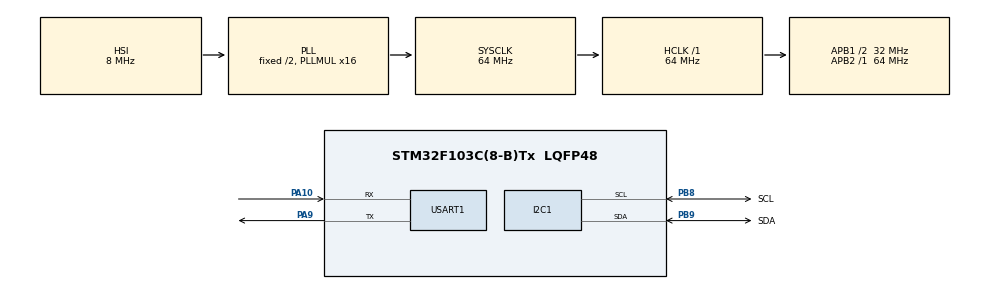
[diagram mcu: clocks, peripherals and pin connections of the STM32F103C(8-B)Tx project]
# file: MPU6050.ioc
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Mcu.Family=STM32F1
Mcu.Name=STM32F103C(8-B)Tx
Mcu.Package=LQFP48
NVIC.PriorityGroup=NVIC_PRIORITYGROUP_4
PA10.Mode=Asynchronous
PA10.Signal=USART1_RX
PA9.Mode=Asynchronous
PA9.Signal=USART1_TX
PB8.GPIO_Label=SCL
PB8.Mode=I2C
PB8.Signal=I2C1_SCL
PB9.GPIO_Label=SDA
PB9.Mode=I2C
PB9.Signal=I2C1_SDA
ProjectManager.HeapSize=0x200
ProjectManager.StackSize=0x400
ProjectManager.TargetToolchain=MDK-ARM V5
RCC.AHBFreq_Value=64000000
RCC.APB1CLKDivider=RCC_HCLK_DIV2
RCC.APB1Freq_Value=32000000
RCC.APB1TimFreq_Value=64000000
RCC.APB2Freq_Value=64000000
RCC.APB2TimFreq_Value=64000000
RCC.HCLKFreq_Value=64000000
RCC.PLLMUL=RCC_PLL_MUL16
RCC.SYSCLKFreq_VALUE=64000000
RCC.SYSCLKSource=RCC_SYSCLKSOURCE_PLLCLK
RCC.USBFreq_Value=64000000
USART1.VirtualMode=VM_ASYNC
VP_SYS_VS_ND.Mode=No_Debug
board=custom

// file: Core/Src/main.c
/* USER CODE BEGIN Header */
/**
  ******************************************************************************
  * @file           : main.c
  * @brief          : Main program body
  ******************************************************************************
  * @attention
  *
  * Copyright (c) 2022 STMicroelectronics.
  * All rights reserved.
  *
  * This software is licensed under terms that can be found in the LICENSE file
  * in the root directory of this software component.
  * If no LICENSE file comes with this software, it is provided AS-IS.
  *
  ******************************************************************************
  */
/* USER CODE END Header */
#include "main.h"

/* USER CODE BEGIN Includes */
#include "stdio.h"
#include "complementary_filter.h"
#include "kalman_filter.h"
/* USER CODE END Includes */

I2C_HandleTypeDef hi2c1;

UART_HandleTypeDef huart1;

/* USER CODE BEGIN PV */
uint8_t mpuAddr = 0x68 << 1;
float dt = 0.01;
/* USER CODE END PV */

void SystemClock_Config(void);
static void MX_GPIO_Init(void);
static void MX_I2C1_Init(void);
static void MX_USART1_UART_Init(void);

/* USER CODE BEGIN 0 */
void calibration(float* cal) {
	uint8_t rawData[6];
	for(int i = 0; i < 3000; i++) {
		uint8_t accStart = 0x3B;
		HAL_I2C_Mem_Read(&hi2c1, mpuAddr, accStart, I2C_MEMADD_SIZE_8BIT, rawData, 6, HAL_MAX_DELAY);

		// ACC
		cal[0] += ((int16_t)(rawData[0] << 8 | rawData[1])) / 16384.0; // x
		cal[1] += ((int16_t)(rawData[2] << 8 | rawData[3])) / 16384.0; // y
		cal[2] += ((int16_t)(rawData[4] << 8 | rawData[5])) / 16384.0; // z

		uint8_t gyroStart = 0x43;
		HAL_I2C_Mem_Read(&hi2c1, mpuAddr, gyroStart, I2C_MEMADD_SIZE_8BIT, rawData, 6, HAL_MAX_DELAY);

		//GYRO
		cal[3] += ((int16_t)(rawData[0] << 8 | rawData[1])) / 131.0; // x
		cal[4] += ((int16_t)(rawData[2] << 8 | rawData[3])) / 131.0; // y
		cal[5] += ((int16_t)(rawData[4] << 8 | rawData[5])) / 131.0; // z

		HAL_Delay(3);
	}

	cal[0] /= 3000.0;
	cal[1] /= 3000.0;
	cal[2] /= 3000.0;
	cal[3] /= 3000.0;
	cal[4] /= 3000.0;
	cal[5] /= 3000.0;
}

void readRaw(float *data, float* cal) {
	uint8_t rawData[6];
	uint8_t accStart = 0x3B;
	HAL_I2C_Mem_Read(&hi2c1, mpuAddr, accStart, I2C_MEMADD_SIZE_8BIT, rawData, 6, HAL_MAX_DELAY);

	// ACC
	data[0] = ((int16_t)(rawData[0] << 8 | rawData[1])) / 16384.0 - cal[0]; // x
	data[1] = ((int16_t)(rawData[2] << 8 | rawData[3])) / 16384.0 - cal[1]; // y
	data[2] = ((int16_t)(rawData[4] << 8 | rawData[5])) / 16384.0 - cal[2] + 1; // z
	uint8_t gyroStart = 0x43;
	HAL_I2C_Mem_Read(&hi2c1, mpuAddr, gyroStart, I2C_MEMADD_SIZE_8BIT, rawData, 6, HAL_MAX_DELAY);

	//GYRO
	data[3] = ((int16_t)(rawData[0] << 8 | rawData[1])) / 131.0 - cal[3]; // x
	data[4] = ((int16_t)(rawData[2] << 8 | rawData[3])) / 131.0 - cal[4]; // y
	data[5] = ((int16_t)(rawData[4] << 8 | rawData[5])) / 131.0 - cal[5]; // z
}
/* USER CODE END 0 */

int main(void)
{

  /* MCU Configuration--------------------------------------------------------*/

  /* Reset of all peripherals, Initializes the Flash interface and the Systick. */
  HAL_Init();

  /* Configure the system clock */
  SystemClock_Config();

  /* Initialize all configured peripherals */
  MX_GPIO_Init();
  MX_I2C1_Init();
  MX_USART1_UART_Init();
  /* USER CODE BEGIN 2 */
	float calibrate[6];
	calibration(calibrate);
  /* USER CODE END 2 */

  /* Infinite loop */
  /* USER CODE BEGIN WHILE */
	float compFiltered[3];
	float kalFiltered[3];
  while (1)
  {
    /* USER CODE END WHILE */

    /* USER CODE BEGIN 3 */
		float raw[6];
		readRaw(raw, calibrate);
		complementary(raw, compFiltered, dt);
		kalman(raw, kalFiltered, dt);

		char result[70] = { '\0' };
		//sprintf(result, "%.2f %.2f %.2f %.2f %.2f %.2f", raw[0], raw[1], raw[2], raw[3], raw[4], raw[5]);
		sprintf(result, "%.2f %.2f %.2f %.2f %.2f %.2f %.2f %.2f %.2f", raw[0], raw[1], raw[2], raw[3], raw[4], compFiltered[0], compFiltered[1], kalFiltered[0], kalFiltered[1]);
		HAL_UART_Transmit(&huart1, (uint8_t*)result, sizeof(result), HAL_MAX_DELAY);

		uint8_t msg[] = "\r\n";
		HAL_UART_Transmit(&huart1, msg, sizeof(msg), HAL_MAX_DELAY);

		HAL_Delay(dt*1000); // 1/1khz
  }
  /* USER CODE END 3 */
}

void SystemClock_Config(void)
{
  RCC_OscInitTypeDef RCC_OscInitStruct = {0};
  RCC_ClkInitTypeDef RCC_ClkInitStruct = {0};

  /** Initializes the RCC Oscillators according to the specified parameters
  * in the RCC_OscInitTypeDef structure.
  */
  RCC_OscInitStruct.OscillatorType = RCC_OSCILLATORTYPE_HSI;
  RCC_OscInitStruct.HSIState = RCC_HSI_ON;
  RCC_OscInitStruct.HSICalibrationValue = RCC_HSICALIBRATION_DEFAULT;
  RCC_OscInitStruct.PLL.PLLState = RCC_PLL_ON;
  RCC_OscInitStruct.PLL.PLLSource = RCC_PLLSOURCE_HSI_DIV2;
  RCC_OscInitStruct.PLL.PLLMUL = RCC_PLL_MUL16;
  if (HAL_RCC_OscConfig(&RCC_OscInitStruct) != HAL_OK)
  {
    Error_Handler();
  }

  /** Initializes the CPU, AHB and APB buses clocks
  */
  RCC_ClkInitStruct.ClockType = RCC_CLOCKTYPE_HCLK|RCC_CLOCKTYPE_SYSCLK
                              |RCC_CLOCKTYPE_PCLK1|RCC_CLOCKTYPE_PCLK2;
  RCC_ClkInitStruct.SYSCLKSource = RCC_SYSCLKSOURCE_PLLCLK;
  RCC_ClkInitStruct.AHBCLKDivider = RCC_SYSCLK_DIV1;
  RCC_ClkInitStruct.APB1CLKDivider = RCC_HCLK_DIV2;
  RCC_ClkInitStruct.APB2CLKDivider = RCC_HCLK_DIV1;

  if (HAL_RCC_ClockConfig(&RCC_ClkInitStruct, FLASH_LATENCY_2) != HAL_OK)
  {
    Error_Handler();
  }
}

static void MX_I2C1_Init(void)
{

  hi2c1.Instance = I2C1;
  hi2c1.Init.ClockSpeed = 100000;
  hi2c1.Init.DutyCycle = I2C_DUTYCYCLE_2;
  hi2c1.Init.OwnAddress1 = 0;
  hi2c1.Init.AddressingMode = I2C_ADDRESSINGMODE_7BIT;
  hi2c1.Init.DualAddressMode = I2C_DUALADDRESS_DISABLE;
  hi2c1.Init.OwnAddress2 = 0;
  hi2c1.Init.GeneralCallMode = I2C_GENERALCALL_DISABLE;
  hi2c1.Init.NoStretchMode = I2C_NOSTRETCH_DISABLE;
  if (HAL_I2C_Init(&hi2c1) != HAL_OK)
  {
    Error_Handler();
  }
  /* USER CODE BEGIN I2C1_Init 2 */
	uint8_t PWR_MGMT_1 = 0x00; // power
	HAL_I2C_Mem_Write(&hi2c1, mpuAddr, 0x6B, I2C_MEMADD_SIZE_8BIT, &PWR_MGMT_1, I2C_MEMADD_SIZE_8BIT, HAL_MAX_DELAY);
	uint8_t GyroSensitivity = 0x00; // gyro sensitivity ±250°/s 131 LSB/°/s
	HAL_I2C_Mem_Write(&hi2c1, mpuAddr, 0x1B, I2C_MEMADD_SIZE_8BIT, &GyroSensitivity, I2C_MEMADD_SIZE_8BIT, HAL_MAX_DELAY);
	uint8_t AccSensitivity = 0x00; // acceleromter sensitivity ±2g 16384 LSB/g
	HAL_I2C_Mem_Write(&hi2c1, mpuAddr, 0x1C, I2C_MEMADD_SIZE_8BIT, &AccSensitivity, I2C_MEMADD_SIZE_8BIT, HAL_MAX_DELAY);
	uint8_t SMPLRT_DIV = 0x07; // 8khz/(7+1) = 1khz sample rate
	HAL_I2C_Mem_Write(&hi2c1, mpuAddr, 0x19, I2C_MEMADD_SIZE_8BIT, &SMPLRT_DIV, I2C_MEMADD_SIZE_8BIT, HAL_MAX_DELAY);
  /* USER CODE END I2C1_Init 2 */

}

static void MX_USART1_UART_Init(void)
{

  huart1.Instance = USART1;
  huart1.Init.BaudRate = 115200;
  huart1.Init.WordLength = UART_WORDLENGTH_8B;
  huart1.Init.StopBits = UART_STOPBITS_1;
  huart1.Init.Parity = UART_PARITY_NONE;
  huart1.Init.Mode = UART_MODE_TX_RX;
  huart1.Init.HwFlowCtl = UART_HWCONTROL_NONE;
  huart1.Init.OverSampling = UART_OVERSAMPLING_16;
  if (HAL_UART_Init(&huart1) != HAL_OK)
  {
    Error_Handler();
  }

}

static void MX_GPIO_Init(void)
{

  /* GPIO Ports Clock Enable */
  __HAL_RCC_GPIOA_CLK_ENABLE();
  __HAL_RCC_GPIOB_CLK_ENABLE();

}

void Error_Handler(void)
{
  __disable_irq();
  while (1)
  {
  }
}
